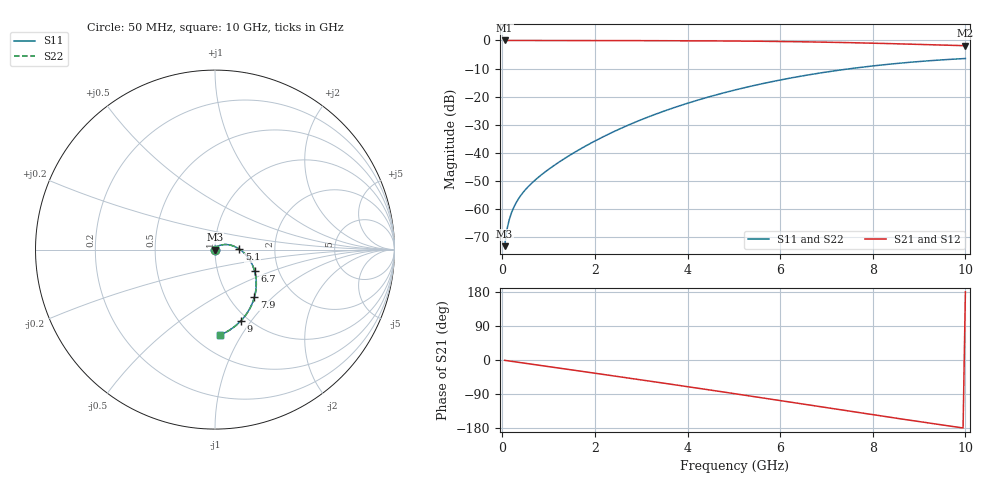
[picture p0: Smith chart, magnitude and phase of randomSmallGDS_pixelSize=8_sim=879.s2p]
! freq	dB(S11)	phase(S11)	dB(S12)	phase(S12)
!  dB(S21)	phase(S21)	dB(S22)	phase(S22)
!S-par simulation data
#  GHz  S  DB  R 50
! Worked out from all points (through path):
!   200 points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, 50 MHz to 10 GHz, reference 50 ohm
!   highest |S21| = 0.00 dB at 50 MHz (marker M1); lowest = -1.9 dB at 10 GHz (marker M2)
!   group delay of S21, straight-line fit = 50.4 ps
!   lowest |S11| = -73.3 dB at 50 MHz (marker M3), VSWR 1.00, Z = 50 + j0.0213 ohm
!   |S11| at or under -10 dB: start of sweep to 7.538 GHz
!   |S22| runs from -73.3 to -6.4 dB; largest |S21 - S12| = 0
!   S11 on the Smith chart (normalised r, x): 50 MHz: 1.00, +0.00; 5.1 GHz: 1.31, +0.01; 6.7 GHz: 1.51, -0.38; 7.9 GHz: 1.30, -0.78; 9 GHz: 0.93, -0.89; 10 GHz: 0.66, -0.81
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0.05  -73.28 79.2  -0.00 -0.9  -0.00 -0.9  -73.28 79.2
0.1  -67.35 83.0  -0.00 -1.8  -0.00 -1.8  -67.35 83.0
0.15  -63.84 83.6  -0.00 -2.6  -0.00 -2.6  -63.84 83.6
0.2  -61.33 83.4  -0.00 -3.5  -0.00 -3.5  -61.33 83.4
0.3  -57.77 82.3  -0.00 -5.3  -0.00 -5.3  -57.77 82.3
0.45  -54.12 80.2  -0.01 -7.9  -0.01 -7.9  -54.12 80.3
0.65  -50.61 77.5  -0.01 -11.4  -0.01 -11.4  -50.61 77.6
0.95  -46.52 73.6  -0.02 -16.6  -0.02 -16.6  -46.52 73.7
1.3  -42.53 68.6  -0.03 -22.7  -0.03 -22.7  -42.53 68.8
1.75  -38.06 61.5  -0.04 -30.5  -0.04 -30.5  -38.05 61.7
2.55  -31.40 47.5  -0.05 -44.5  -0.05 -44.5  -31.40 47.7
3.4  -25.72 32.2  -0.08 -59.6  -0.08 -59.6  -25.72 32.3
4.25  -21.11 16.7  -0.13 -74.9  -0.13 -74.9  -21.11 16.8
5.05  -17.54 2.0  -0.21 -89.5  -0.21 -89.5  -17.54 2.2
5.1  -17.34 1.1  -0.22 -90.4  -0.22 -90.4  -17.34 1.3
5.9  -14.42 -13.6  -0.34 -105.2  -0.34 -105.2  -14.42 -13.5
6.7  -12.02 -28.4  -0.53 -120.1  -0.53 -120.1  -12.02 -28.3
7.3  -10.53 -39.5  -0.71 -131.3  -0.71 -131.3  -10.52 -39.3
7.9  -9.27 -50.4  -0.93 -142.4  -0.93 -142.4  -9.27 -50.2
8.35  -8.47 -58.4  -1.11 -150.7  -1.11 -150.7  -8.46 -58.3
9  -7.50 -69.9  -1.40 -162.5  -1.40 -162.5  -7.50 -69.7
10  -6.43 -86.9  -1.87 179.8  -1.87 179.8  -6.43 -86.7
